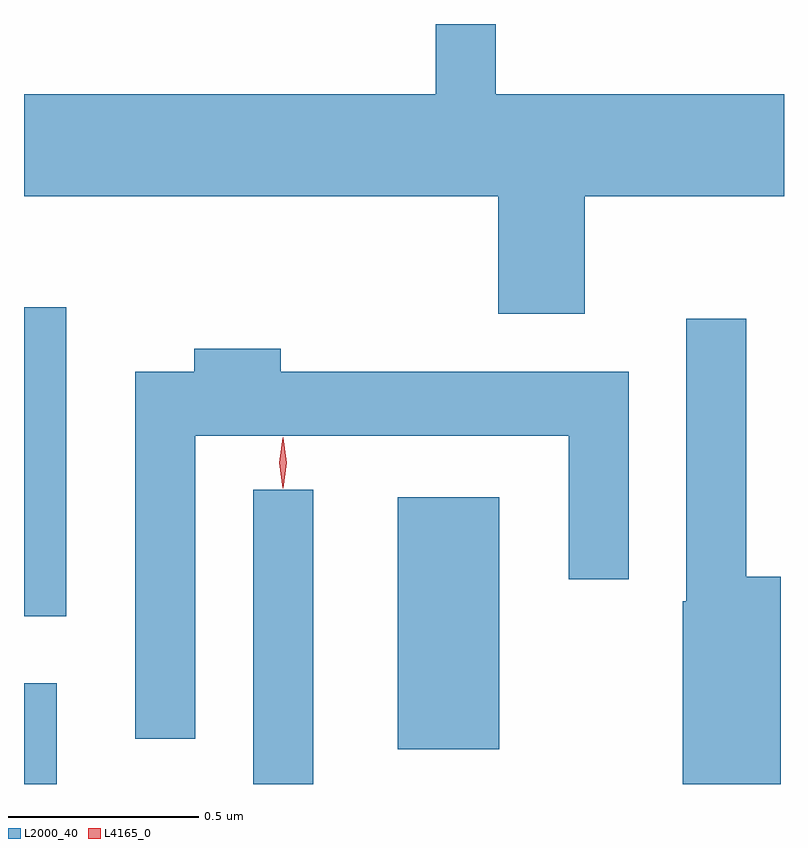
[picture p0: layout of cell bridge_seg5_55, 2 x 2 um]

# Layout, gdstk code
import gdstk
lib = gdstk.Library(unit=1e-6, precision=1e-09)
def R(c, l, rs):  # rectangles x0, y0, x1, y1
    for r in rs: c.add(gdstk.rectangle(r[:2], r[2:], *l))
def P(c, l, *ps):  # polygons
    for p in ps: c.add(gdstk.Polygon(p, *l))
L2000_40 = (2000, 40)
L4165_0 = (4165, 0)

bridge_seg5_55 = lib.new_cell('bridge_seg5_55')
R(bridge_seg5_55, L2000_40, [(1326.863,1475.229,1326.949,1475.494), (1327.466,1475.229,1327.624,1476.003), (1327.846,1475.321,1328.114,1475.984), (1326.863,1475.671,1326.974,1476.484)])
P(bridge_seg5_55, L2000_40, [(1328.339,1476.776),(1328.863,1476.776),(1328.863,1477.044),(1328.104,1477.044),(1328.104,1477.229),(1327.946,1477.229),(1327.946,1477.044),(1326.863,1477.044),(1326.863,1476.776),(1328.111,1476.776),(1328.111,1476.466),(1328.339,1476.466)],
  [(1328.854,1475.774),(1328.764,1475.774),(1328.764,1476.453),(1328.606,1476.453),(1328.606,1475.71),(1328.596,1475.71),(1328.596,1475.229),(1328.854,1475.229)],
  [(1327.314,1476.146),(1328.296,1476.146),(1328.296,1475.768),(1328.454,1475.768),(1328.454,1476.314),(1327.539,1476.314),(1327.539,1476.374),(1327.311,1476.374),(1327.311,1476.314),(1327.156,1476.314),(1327.156,1475.348),(1327.314,1475.348)])
P(bridge_seg5_55, L4165_0, [(1327.544,1476.007),(1327.535,1476.074),(1327.544,1476.14),(1327.545,1476.141),(1327.545,1476.14),(1327.555,1476.074),(1327.545,1476.007),(1327.545,1476.007)])

lib.write_gds('bridge_seg5_55.gds')
